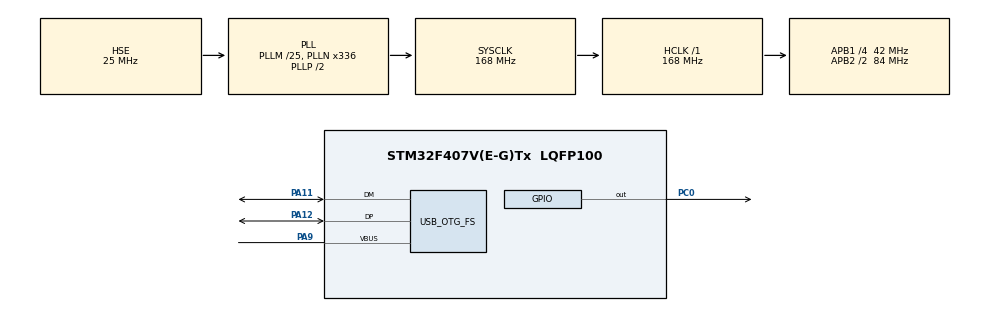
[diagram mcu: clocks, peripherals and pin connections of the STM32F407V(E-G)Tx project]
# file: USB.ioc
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Mcu.Family=STM32F4
Mcu.Name=STM32F407V(E-G)Tx
Mcu.Package=LQFP100
NVIC.OTG_FS_IRQn=true\:0\:0\:false\:false\:true\:false\:true
NVIC.PriorityGroup=NVIC_PRIORITYGROUP_4
PA11.Mode=Host_Only
PA11.Signal=USB_OTG_FS_DM
PA12.Mode=Host_Only
PA12.Signal=USB_OTG_FS_DP
PA13.Mode=Trace_Asynchronous_SW
PA13.Signal=SYS_JTMS-SWDIO
PA14.Mode=Trace_Asynchronous_SW
PA14.Signal=SYS_JTCK-SWCLK
PA9.Mode=Activate_VBUS
PA9.Signal=USB_OTG_FS_VBUS
PB3.Mode=Trace_Asynchronous_SW
PB3.Signal=SYS_JTDO-SWO
PC0.Signal=GPIO_Output
PH0-OSC_IN.Mode=HSE-External-Oscillator
PH0-OSC_IN.Signal=RCC_OSC_IN
PH1-OSC_OUT.Mode=HSE-External-Oscillator
PH1-OSC_OUT.Signal=RCC_OSC_OUT
ProjectManager.HeapSize=0x200
ProjectManager.StackSize=0x400
ProjectManager.TargetToolchain=STM32CubeIDE
RCC.48MHZClocksFreq_Value=48000000
RCC.AHBFreq_Value=168000000
RCC.APB1CLKDivider=RCC_HCLK_DIV4
RCC.APB1Freq_Value=42000000
RCC.APB1TimFreq_Value=84000000
RCC.APB2CLKDivider=RCC_HCLK_DIV2
RCC.APB2Freq_Value=84000000
RCC.APB2TimFreq_Value=168000000
RCC.CortexFreq_Value=168000000
RCC.HCLKFreq_Value=168000000
RCC.HSE_VALUE=25000000
RCC.HSI_VALUE=16000000
RCC.LSE_VALUE=32768
RCC.PLLM=25
RCC.PLLN=336
RCC.PLLQ=7
RCC.SYSCLKFreq_VALUE=168000000
RCC.SYSCLKSource=RCC_SYSCLKSOURCE_PLLCLK
RCC.VCOOutputFreq_Value=336000000
USB_HOST.BSP.number=1
USB_HOST.USBH_HandleTypeDef-CDC_FS=hUsbHostFS
USB_HOST.VirtualModeFS=Cdc
USB_HOST0.BSP.STBoard=false
USB_HOST0.BSP.api=Unknown
USB_HOST0.BSP.i2caddr=0
USB_HOST0.BSP.instance=PC0
USB_HOST0.BSP.ip=GPIO
USB_HOST0.BSP.mode=Output
USB_HOST0.BSP.name=Drive_VBUS_FS
USB_HOST0.BSP.solution=PC0
USB_OTG_FS.VirtualMode=Host_Only
USB_OTG_FS.phy_itface=HCD_PHY_EMBEDDED
VP_USB_HOST_VS_USB_HOST_CDC_FS.Mode=CDC_FS
board=custom

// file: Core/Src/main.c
/* USER CODE BEGIN Header */
/**
  ******************************************************************************
  * @file           : main.c
  * @brief          : Main program body
  ******************************************************************************
  * @attention
  *
  * Copyright (c) 2022 STMicroelectronics.
  * All rights reserved.
  *
  * This software is licensed under terms that can be found in the LICENSE file
  * in the root directory of this software component.
  * If no LICENSE file comes with this software, it is provided AS-IS.
  *
  ******************************************************************************
  */
/* USER CODE END Header */
#include "main.h"
#include "usb_host.h"

/* USER CODE BEGIN Includes */
#include "usbh_cdc.h"
/* USER CODE END Includes */

void SystemClock_Config(void);
static void MX_GPIO_Init(void);
void MX_USB_HOST_Process(void);

/* USER CODE BEGIN 0 */
extern USBH_HandleTypeDef hUsbHostFS;
extern ApplicationTypeDef Appli_state;
//extern USBH_StatusTypeDef usbresult;

#define RX_BUFF_SIZE   64  /* Max Received data 1KB */

uint8_t CDC_RX_Buffer[RX_BUFF_SIZE];
uint8_t CDC_TX_Buffer[RX_BUFF_SIZE];

typedef enum {
  CDC_STATE_IDLE = 0,
  CDC_RECEIVE,
}CDC_StateTypedef;

CDC_StateTypedef CDC_STATE = CDC_STATE_IDLE;

uint8_t i=0;
void CDC_HANDLE (void)
{
	switch (CDC_STATE)
	{
	case CDC_STATE_IDLE:
	{
		  USBH_CDC_Stop(&hUsbHostFS);
		  int len = sprintf ((char *)CDC_TX_Buffer, "DATA = %d", i);
		  if (USBH_CDC_Transmit (&hUsbHostFS, CDC_TX_Buffer, len) == USBH_OK)
		  {
			  CDC_STATE = CDC_RECEIVE;
		  }
		  i++;
		  break;
	}

	case CDC_RECEIVE:
	{
		  USBH_CDC_Stop(&hUsbHostFS);
		  USBH_CDC_Receive(&hUsbHostFS, (uint8_t *) CDC_RX_Buffer, RX_BUFF_SIZE);
		  HAL_Delay (1000);
		  CDC_STATE = CDC_IDLE;
		  break;
	}

	default:
		  break;
	}
}
/* USER CODE END 0 */

int main(void)
{

  /* MCU Configuration--------------------------------------------------------*/

  /* Reset of all peripherals, Initializes the Flash interface and the Systick. */
  HAL_Init();

  /* Configure the system clock */
  SystemClock_Config();

  /* Initialize all configured peripherals */
  MX_GPIO_Init();
  MX_USB_HOST_Init();

  /* Infinite loop */
  while (1)
  {
    MX_USB_HOST_Process();

        if (Appli_state == APPLICATION_READY)
        {
        	CDC_HANDLE();
        }

  }
}

void SystemClock_Config(void)
{
  RCC_OscInitTypeDef RCC_OscInitStruct = {0};
  RCC_ClkInitTypeDef RCC_ClkInitStruct = {0};

  /** Configure the main internal regulator output voltage
  */
  __HAL_RCC_PWR_CLK_ENABLE();
  __HAL_PWR_VOLTAGESCALING_CONFIG(PWR_REGULATOR_VOLTAGE_SCALE1);
  /** Initializes the RCC Oscillators according to the specified parameters
  * in the RCC_OscInitTypeDef structure.
  */
  RCC_OscInitStruct.OscillatorType = RCC_OSCILLATORTYPE_HSE;
  RCC_OscInitStruct.HSEState = RCC_HSE_ON;
  RCC_OscInitStruct.PLL.PLLState = RCC_PLL_ON;
  RCC_OscInitStruct.PLL.PLLSource = RCC_PLLSOURCE_HSE;
  RCC_OscInitStruct.PLL.PLLM = 25;
  RCC_OscInitStruct.PLL.PLLN = 336;
  RCC_OscInitStruct.PLL.PLLP = RCC_PLLP_DIV2;
  RCC_OscInitStruct.PLL.PLLQ = 7;
  if (HAL_RCC_OscConfig(&RCC_OscInitStruct) != HAL_OK)
  {
    Error_Handler();
  }
  /** Initializes the CPU, AHB and APB buses clocks
  */
  RCC_ClkInitStruct.ClockType = RCC_CLOCKTYPE_HCLK|RCC_CLOCKTYPE_SYSCLK
                              |RCC_CLOCKTYPE_PCLK1|RCC_CLOCKTYPE_PCLK2;
  RCC_ClkInitStruct.SYSCLKSource = RCC_SYSCLKSOURCE_PLLCLK;
  RCC_ClkInitStruct.AHBCLKDivider = RCC_SYSCLK_DIV1;
  RCC_ClkInitStruct.APB1CLKDivider = RCC_HCLK_DIV4;
  RCC_ClkInitStruct.APB2CLKDivider = RCC_HCLK_DIV2;

  if (HAL_RCC_ClockConfig(&RCC_ClkInitStruct, FLASH_LATENCY_5) != HAL_OK)
  {
    Error_Handler();
  }
}

static void MX_GPIO_Init(void)
{
  GPIO_InitTypeDef GPIO_InitStruct = {0};

  /* GPIO Ports Clock Enable */
  __HAL_RCC_GPIOH_CLK_ENABLE();
  __HAL_RCC_GPIOC_CLK_ENABLE();
  __HAL_RCC_GPIOA_CLK_ENABLE();
  __HAL_RCC_GPIOB_CLK_ENABLE();

  /*Configure GPIO pin Output Level */
  HAL_GPIO_WritePin(GPIOC, GPIO_PIN_0, GPIO_PIN_RESET);

  /*Configure GPIO pin : PC0 */
  GPIO_InitStruct.Pin = GPIO_PIN_0;
  GPIO_InitStruct.Mode = GPIO_MODE_OUTPUT_PP;
  GPIO_InitStruct.Pull = GPIO_NOPULL;
  GPIO_InitStruct.Speed = GPIO_SPEED_FREQ_LOW;
  HAL_GPIO_Init(GPIOC, &GPIO_InitStruct);

}

void Error_Handler(void)
{
  __disable_irq();
  while (1)
  {
  }
}
